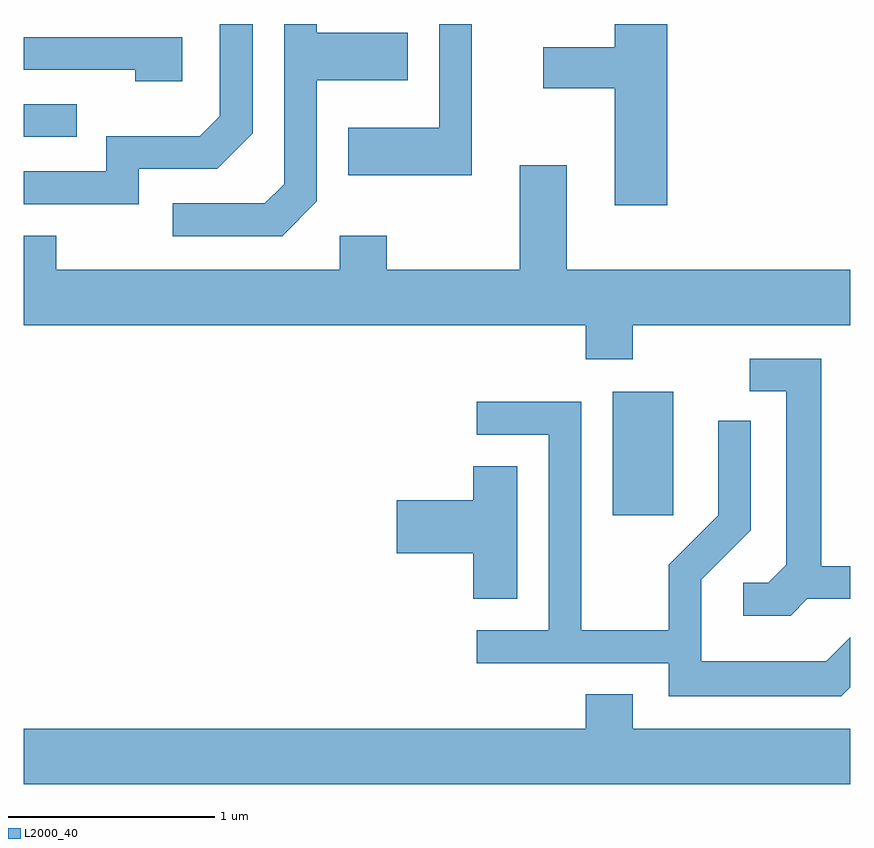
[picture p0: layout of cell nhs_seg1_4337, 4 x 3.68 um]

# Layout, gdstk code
import gdstk
lib = gdstk.Library(unit=1e-6, precision=1e-09)
def R(c, l, rs):  # rectangles x0, y0, x1, y1
    for r in rs: c.add(gdstk.rectangle(r[:2], r[2:], *l))
def P(c, l, *ps):  # polygons
    for p in ps: c.add(gdstk.Polygon(p, *l))
L2000_40 = (2000, 40)

nhs_seg1_4337 = lib.new_cell('nhs_seg1_4337')
R(nhs_seg1_4337, L2000_40, [(318.461,885.336,318.754,885.934), (315.611,887.166,315.868,887.324)])
P(nhs_seg1_4337, L2000_40, [(318.724,887.712),(318.471,887.712),(318.471,887.599),(318.126,887.599),(318.126,887.401),(318.471,887.401),(318.471,886.836),(318.724,886.836)],
  [(316.169,887.011),(316.547,887.011),(316.719,887.184),(316.719,887.712),(316.561,887.712),(316.561,887.267),(316.464,887.169),(316.011,887.169),(316.011,886.999),(315.611,886.999),(315.611,886.841),(316.169,886.841)],
  [(317.779,887.712),(317.621,887.712),(317.621,887.209),(317.181,887.209),(317.181,886.981),(317.779,886.981)],
  [(317.029,886.854),(317.029,887.441),(317.469,887.441),(317.469,887.669),(317.029,887.669),(317.029,887.712),(316.871,887.712),(316.871,886.937),(316.779,886.844),(316.333,886.844),(316.333,886.686),(316.862,886.686)],
  [(316.379,887.649),(315.611,887.649),(315.611,887.491),(316.151,887.491),(316.151,887.436),(316.379,887.436)],
  [(318.559,886.256),(319.611,886.256),(319.611,886.524),(318.239,886.524),(318.239,887.029),(318.011,887.029),(318.011,886.524),(317.369,886.524),(317.369,886.689),(317.141,886.689),(317.141,886.524),(315.769,886.524),(315.769,886.689),(315.611,886.689),(315.611,886.256),(318.331,886.256),(318.331,886.091),(318.559,886.091)],
  [(319.402,884.931),(319.611,884.931),(319.611,885.089),(319.469,885.089),(319.469,886.094),(319.123,886.094),(319.123,885.936),(319.301,885.936),(319.301,885.097),(319.214,885.009),(319.093,885.009),(319.093,884.851),(319.322,884.851)],
  [(319.611,884.505),(319.611,884.746),(319.494,884.629),(318.889,884.629),(318.889,885.024),(319.129,885.264),(319.129,885.793),(318.971,885.793),(318.971,885.337),(318.731,885.097),(318.731,884.779),(318.309,884.779),(318.309,885.884),(317.803,885.884),(317.803,885.726),(318.151,885.726),(318.151,884.779),(317.803,884.779),(317.803,884.621),(318.731,884.621),(318.731,884.461),(319.567,884.461)],
  [(317.999,885.574),(317.786,885.574),(317.786,885.409),(317.416,885.409),(317.416,885.151),(317.786,885.151),(317.786,884.931),(317.999,884.931)],
  [(318.331,884.469),(318.331,884.304),(315.611,884.304),(315.611,884.036),(319.611,884.036),(319.611,884.304),(318.559,884.304),(318.559,884.469)])

lib.write_gds('nhs_seg1_4337.gds')
